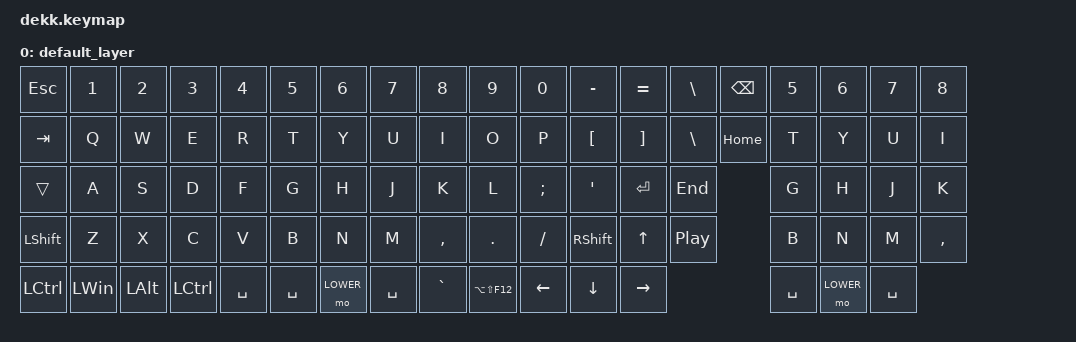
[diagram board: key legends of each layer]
#include <behaviors.dtsi>
#include <dt-bindings/zmk/bt.h>
#include <dt-bindings/zmk/keys.h>

#define DEFAULT 0

/ {
    combos {
        compatible = "zmk,combos";

        chrome_to_klogg_combo {
            bindings = <&chrome_to_klogg>;
            key-positions = <8 9>;
        };
    };

    macros {
        chrome_to_klogg: chrome_to_klogg {
            compatible = "zmk,behavior-macro";
            #binding-cells = <0>;
            bindings =
                <&kp LC(A) &kp LC(C) &kp LS(LA(LC(LG(E))))>,
                <&macro_wait_time 100>,
                <&kp TAB &kp LC(V)>;

            label = "CHROME_TO_KLOGG";
        };
    };

    keymap {
        compatible = "zmk,keymap";

        default_layer {
            bindings = <
&kp ESC     &kp N1        &kp N2    &kp N3     &kp N4     &kp N5     &kp N6     &kp N7     &kp N8     &kp N9           &kp N0    &kp MINUS   &kp EQUAL  &kp BSLH          &kp BSPC    &kp N5     &kp N6     &kp N7     &kp N8   
&kp TAB     &kp Q         &kp W     &kp E      &kp R      &kp T      &kp Y      &kp U      &kp I      &kp O            &kp P     &kp LBKT    &kp RBKT   &kp BSLH          &kp HOME    &kp T      &kp Y      &kp U      &kp I    
&trans      &kp A         &kp S     &kp D      &kp F      &kp G      &kp H      &kp J      &kp K      &kp L            &kp SEMI  &kp APOS    &kp ENTER  &kp END                       &kp G      &kp H      &kp J      &kp K    
&kp LSHIFT  &kp Z         &kp X     &kp C      &kp V      &kp B      &kp N      &kp M      &kp COMMA  &kp DOT          &kp FSLH  &kp RSHIFT  &kp UP     &kp C_PLAY_PAUSE              &kp B      &kp N      &kp M      &kp COMMA
&kp LCTRL   &kp LEFT_WIN  &kp LALT  &kp LCTRL  &kp SPACE  &kp SPACE  &mo LOWER  &kp SPACE  &kp GRAVE  &kp LA(LS(F12))  &kp LEFT  &kp DOWN    &kp RIGHT                                &kp SPACE  &mo LOWER  &kp SPACE 
            >;
        };        

};
